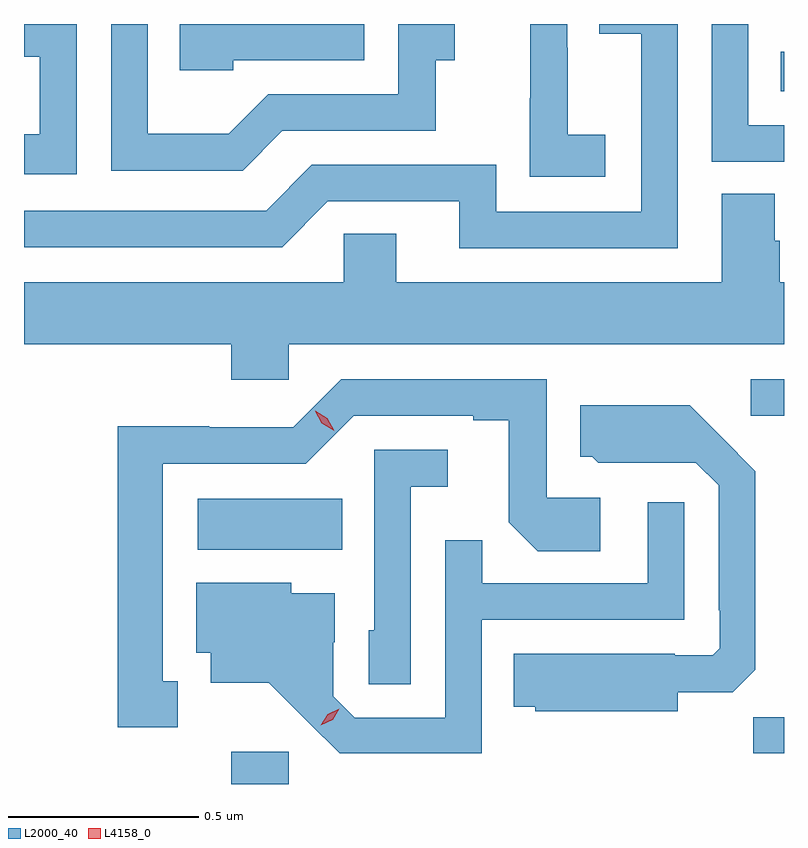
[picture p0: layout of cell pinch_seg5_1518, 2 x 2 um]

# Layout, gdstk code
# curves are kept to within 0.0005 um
import gdstk
lib = gdstk.Library(unit=1e-6, precision=1e-09)
def R(c, l, rs):  # rectangles x0, y0, x1, y1
    for r in rs: c.add(gdstk.rectangle(r[:2], r[2:], *l))
def P(c, l, *ps):  # polygons
    for p in ps: c.add(gdstk.Polygon(p, *l))
L2000_40 = (2000, 40)
L4158_0 = (4158, 0)

pinch_seg5_1518 = lib.new_cell('pinch_seg5_1518')
R(pinch_seg5_1518, L2000_40, [(160.997,882.243,161.148,882.328), (162.37,882.324,162.451,882.419), (160.908,882.86,161.288,882.994), (162.363,883.212,162.451,883.308), (162.442,884.066,162.451,884.17)])
P(pinch_seg5_1518, L2000_40, [(160.59,884.243),(160.451,884.243),(160.451,884.157),(160.493,884.157),(160.493,883.953),(160.451,883.953),(160.451,883.848),(160.59,883.848)],
  [(162.171,884.243),(161.965,884.243),(161.965,884.218),(162.075,884.218),(162.075,883.749),(161.694,883.749),(161.694,883.872),(161.208,883.872),(161.088,883.752),(160.451,883.752),(160.451,883.656),(161.13,883.656),(161.25,883.776),(161.597,883.776),(161.597,883.653),(162.171,883.653)],
  [(161.001,884.148),(161.346,884.148),(161.346,884.243),(160.861,884.243),(160.861,884.121),(161.001,884.121)],
  [(161.98,883.951),(161.882,883.951),(161.882,884.18),(161.88,884.18),(161.88,884.243),(161.783,884.243),(161.783,884.047),(161.782,884.047),(161.782,883.841),(161.98,883.841)],
  [(161.131,883.962),(161.535,883.962),(161.535,884.147),(161.584,884.147),(161.584,884.243),(161.436,884.243),(161.436,884.058),(161.094,884.058),(160.99,883.954),(160.776,883.954),(160.776,884.243),(160.68,884.243),(160.68,883.857),(161.026,883.857)],
  [(162.451,883.977),(162.357,883.977),(162.357,884.243),(162.261,884.243),(162.261,883.881),(162.451,883.881)],
  [(161.148,883.4),(162.451,883.4),(162.451,883.564),(162.44,883.564),(162.44,883.673),(162.426,883.673),(162.426,883.796),(162.287,883.796),(162.287,883.564),(161.431,883.564),(161.431,883.691),(161.292,883.691),(161.292,883.564),(160.451,883.564),(160.451,883.4),(160.997,883.4),(160.997,883.307),(161.148,883.307)],
  [(160.855,882.513),(160.816,882.513),(160.816,883.086),(161.193,883.086),(161.319,883.212),(161.633,883.212),(161.633,883.2),(161.727,883.2),(161.727,882.932),(161.803,882.856),(161.968,882.856),(161.968,882.996),(161.826,882.996),(161.826,883.308),(161.286,883.308),(161.16,883.182),(160.938,883.182),(160.938,883.184),(160.698,883.184),(160.698,882.393),(160.855,882.393)],
  [(162.172,882.485),(162.316,882.485),(162.375,882.544),(162.375,883.066),(162.203,883.24),(161.915,883.24),(161.915,883.104),(161.946,883.104),(161.962,883.088),(162.096,883.088),(162.096,883.089),(162.219,883.089),(162.279,883.029),(162.279,882.7),(162.282,882.7),(162.282,882.6),(162.264,882.582),(162.164,882.582),(162.164,882.586),(161.74,882.586),(161.74,882.446),(161.796,882.446),(161.796,882.434),(162.172,882.434)],
  [(161.469,883.025),(161.566,883.025),(161.566,883.122),(161.373,883.122),(161.373,882.648),(161.358,882.648),(161.358,882.505),(161.469,882.505)],
  [(161.655,882.675),(162.189,882.675),(162.189,882.985),(162.093,882.985),(162.093,882.771),(161.657,882.771),(161.657,882.884),(161.559,882.884),(161.559,882.417),(161.322,882.417),(161.265,882.474),(161.265,882.616),(161.269,882.616),(161.269,882.745),(161.154,882.745),(161.154,882.772),(160.904,882.772),(160.904,882.588),(160.943,882.588),(160.943,882.509),(161.095,882.509),(161.282,882.324),(161.655,882.324)])
P(pinch_seg5_1518, L4158_0, [(161.232,882.398),(161.232,882.398),(161.25,882.427),(161.281,882.441),(161.281,882.441),(161.281,882.441),(161.263,882.412),(161.232,882.398)],
  [(161.267,883.173),(161.235,883.192),(161.217,883.224),(161.217,883.225),(161.217,883.225),(161.249,883.206),(161.267,883.173),(161.267,883.173)])

lib.write_gds('pinch_seg5_1518.gds')
